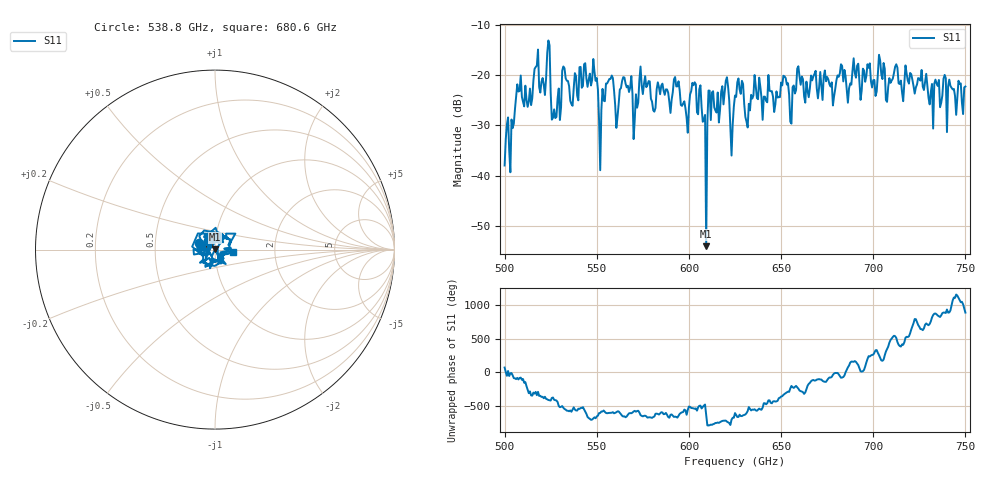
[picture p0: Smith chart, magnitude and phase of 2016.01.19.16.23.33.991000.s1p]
!Created with skrf (http://scikit-rf.org).
# GHz S RI R 50.0
!freq ReS11 ImS11
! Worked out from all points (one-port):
!   401 points, 500 GHz to 750 GHz, reference 50 ohm
!   lowest |S11| = -53.9 dB at 609.4 GHz (marker M1), VSWR 1.00, Z = 50 + j0.2 ohm
!   |S11| at or under -10 dB: start of sweep to end of sweep
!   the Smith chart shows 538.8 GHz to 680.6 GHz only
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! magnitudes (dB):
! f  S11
! 500 GHz  -37.9
! 507.5 GHz  -23.3
! 513.8 GHz  -22.7
! 516.9 GHz  -18.4
! 520.6 GHz  -20.6
! 523.8 GHz  -13.1
! 526.9 GHz  -26.8
! 531.2 GHz  -19.1
! 548.8 GHz  -19.3
! 552.5 GHz  -26.9
! 556.9 GHz  -20.8
! 562.5 GHz  -22.9
! 593.8 GHz  -22.2
! 598.8 GHz  -28.5
! 602.5 GHz  -22.0
! 609.4 GHz  -53.9
! 611.9 GHz  -28.9
! 620.6 GHz  -20.4
! 623.1 GHz  -36.0
! 625 GHz  -24.1
! 628.1 GHz  -23.7
! 631.9 GHz  -30.4
! 652.5 GHz  -20.6
! 656.2 GHz  -22.4
! 660 GHz  -20.3
! 687.5 GHz  -21.7
! 718.8 GHz  -21.1
! 750 GHz  -22.3
